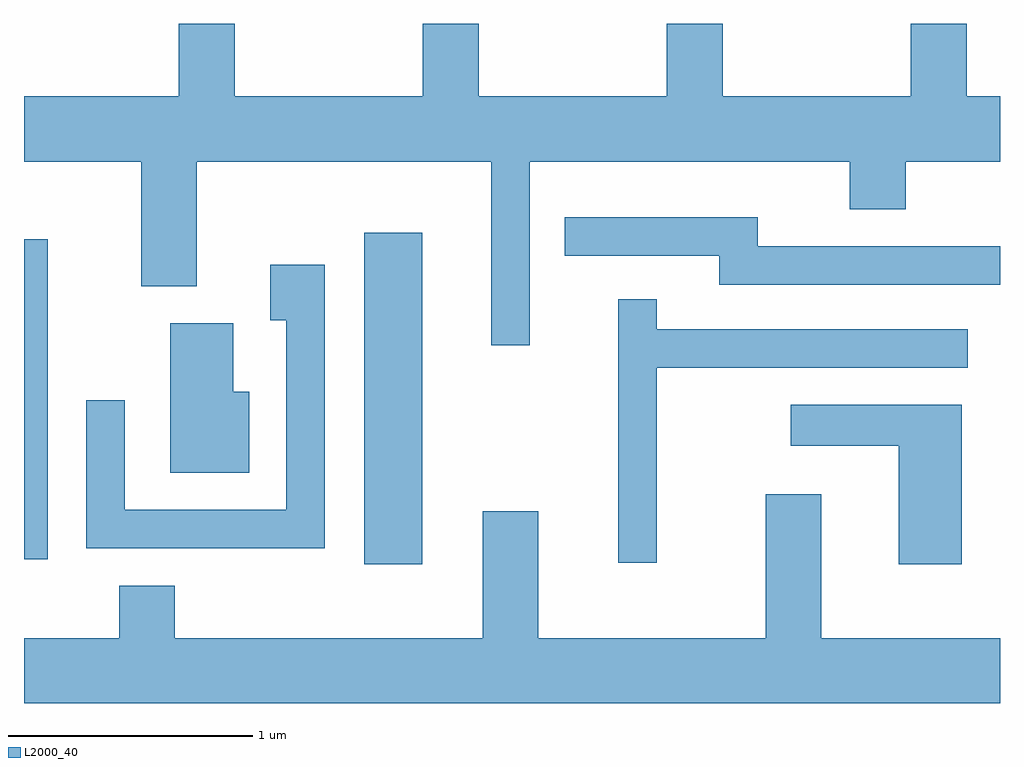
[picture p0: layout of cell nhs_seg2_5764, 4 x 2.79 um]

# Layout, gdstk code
import gdstk
lib = gdstk.Library(unit=1e-6, precision=1e-09)
def R(c, l, rs):  # rectangles x0, y0, x1, y1
    for r in rs: c.add(gdstk.rectangle(r[:2], r[2:], *l))
def P(c, l, *ps):  # polygons
    for p in ps: c.add(gdstk.Polygon(p, *l))
L2000_40 = (2000, 40)

nhs_seg2_5764 = lib.new_cell('nhs_seg2_5764')
R(nhs_seg2_5764, L2000_40, [(357.006,1015.586,357.244,1016.944), (355.611,1015.606,355.709,1016.919)])
P(nhs_seg2_5764, L2000_40, [(357.684,1017.236),(358.996,1017.236),(358.996,1017.041),(359.224,1017.041),(359.224,1017.236),(359.611,1017.236),(359.611,1017.504),(359.474,1017.504),(359.474,1017.802),(359.246,1017.802),(359.246,1017.504),(358.474,1017.504),(358.474,1017.802),(358.246,1017.802),(358.246,1017.504),(357.474,1017.504),(357.474,1017.802),(357.246,1017.802),(357.246,1017.504),(356.474,1017.504),(356.474,1017.802),(356.246,1017.802),(356.246,1017.504),(355.611,1017.504),(355.611,1017.236),(356.091,1017.236),(356.091,1016.726),(356.319,1016.726),(356.319,1017.236),(357.526,1017.236),(357.526,1016.483),(357.684,1016.483)],
  [(359.611,1016.889),(358.619,1016.889),(358.619,1017.009),(357.828,1017.009),(357.828,1016.851),(358.461,1016.851),(358.461,1016.731),(359.611,1016.731)],
  [(356.844,1016.814),(356.621,1016.814),(356.621,1016.586),(356.686,1016.586),(356.686,1015.809),(356.024,1015.809),(356.024,1016.258),(355.866,1016.258),(355.866,1015.651),(356.844,1015.651)],
  [(358.204,1016.391),(359.478,1016.391),(359.478,1016.549),(358.204,1016.549),(358.204,1016.673),(358.046,1016.673),(358.046,1015.593),(358.204,1015.593)],
  [(356.534,1016.294),(356.469,1016.294),(356.469,1016.574),(356.211,1016.574),(356.211,1015.961),(356.534,1015.961)],
  [(359.454,1016.239),(358.753,1016.239),(358.753,1016.071),(359.196,1016.071),(359.196,1015.586),(359.454,1015.586)],
  [(359.611,1015.284),(358.879,1015.284),(358.879,1015.874),(358.651,1015.874),(358.651,1015.284),(357.719,1015.284),(357.719,1015.804),(357.491,1015.804),(357.491,1015.284),(356.229,1015.284),(356.229,1015.499),(356.001,1015.499),(356.001,1015.284),(355.611,1015.284),(355.611,1015.016),(359.611,1015.016)])

lib.write_gds('nhs_seg2_5764.gds')
